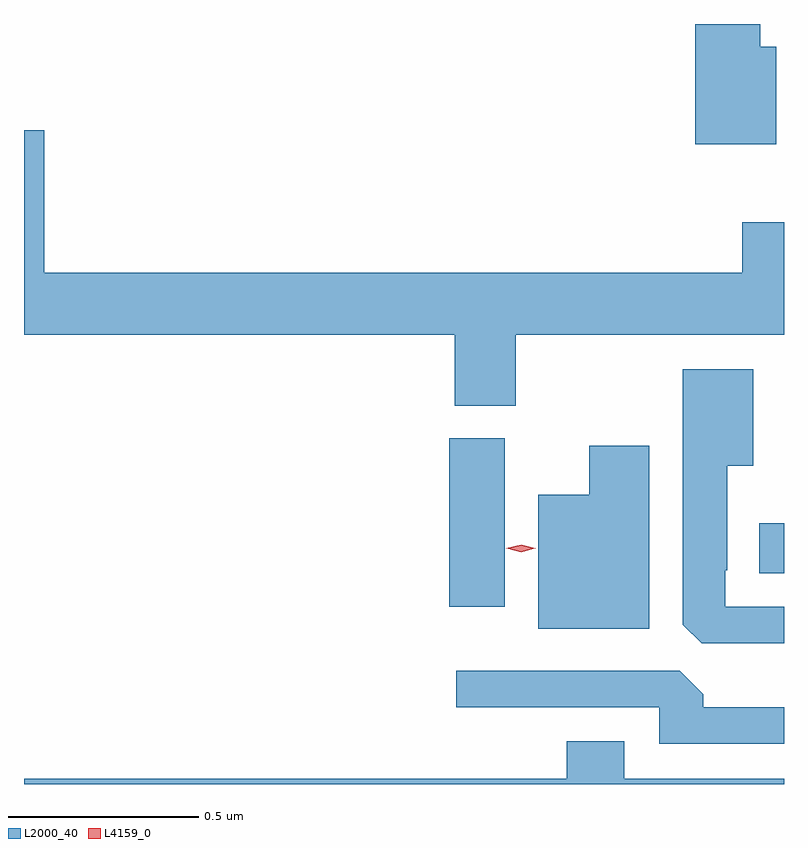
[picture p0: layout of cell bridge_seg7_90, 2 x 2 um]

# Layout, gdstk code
import gdstk
lib = gdstk.Library(unit=1e-6, precision=1e-09)
def R(c, l, rs):  # rectangles x0, y0, x1, y1
    for r in rs: c.add(gdstk.rectangle(r[:2], r[2:], *l))
def P(c, l, *ps):  # polygons
    for p in ps: c.add(gdstk.Polygon(p, *l))
L2000_40 = (2000, 40)
L4159_0 = (4159, 0)

bridge_seg7_90 = lib.new_cell('bridge_seg7_90')
R(bridge_seg7_90, L2000_40, [(1053.35,1001.232,1053.496,1001.676), (1054.166,1001.321,1054.231,1001.452)])
P(bridge_seg7_90, L2000_40, [(1054.21,1002.706),(1054.168,1002.706),(1054.168,1002.766),(1053.998,1002.766),(1053.998,1002.449),(1054.21,1002.449)],
  [(1053.525,1001.948),(1054.231,1001.948),(1054.231,1002.244),(1054.121,1002.244),(1054.121,1002.112),(1052.284,1002.112),(1052.284,1002.487),(1052.231,1002.487),(1052.231,1001.948),(1053.365,1001.948),(1053.365,1001.761),(1053.525,1001.761)],
  [(1054.231,1001.232),(1054.077,1001.232),(1054.077,1001.329),(1054.081,1001.329),(1054.081,1001.603),(1054.15,1001.603),(1054.15,1001.857),(1053.965,1001.857),(1053.965,1001.185),(1054.014,1001.136),(1054.231,1001.136)],
  [(1053.877,1001.656),(1053.719,1001.656),(1053.719,1001.527),(1053.584,1001.527),(1053.584,1001.174),(1053.877,1001.174)],
  [(1054.231,1000.968),(1054.019,1000.968),(1054.019,1001.002),(1053.957,1001.064),(1053.369,1001.064),(1053.369,1000.968),(1053.903,1000.968),(1053.903,1000.872),(1054.231,1000.872)],
  [(1054.231,1000.78),(1053.811,1000.78),(1053.811,1000.879),(1053.659,1000.879),(1053.659,1000.78),(1052.231,1000.78),(1052.231,1000.766),(1054.231,1000.766)])
P(bridge_seg7_90, L4159_0, [(1053.539,1001.376),(1053.5,1001.386),(1053.5,1001.386),(1053.5,1001.387),(1053.539,1001.396),(1053.577,1001.387),(1053.578,1001.386),(1053.577,1001.386)])

lib.write_gds('bridge_seg7_90.gds')
